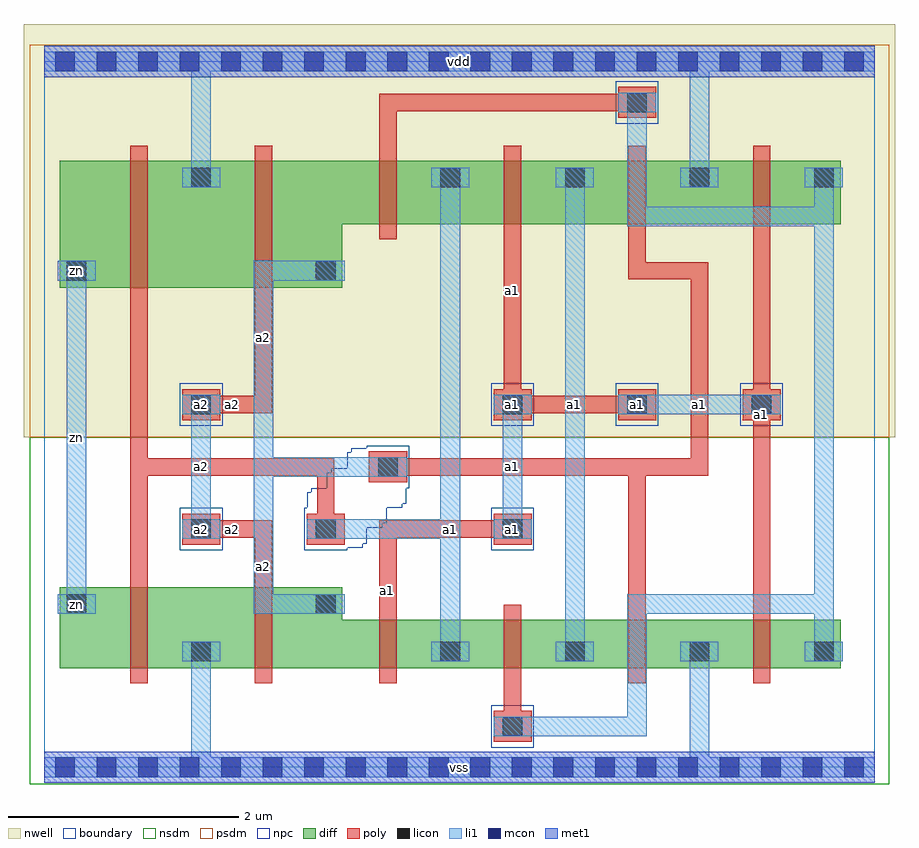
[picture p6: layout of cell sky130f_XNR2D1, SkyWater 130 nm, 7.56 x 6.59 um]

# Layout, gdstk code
import gdstk
lib = gdstk.Library(unit=1e-6, precision=1e-09)
def R(c, l, rs):  # rectangles x0, y0, x1, y1
    for r in rs: c.add(gdstk.rectangle(r[:2], r[2:], *l))
def A(c, l, x, y, w, h, nx, ny, dx, dy):  # array of equal rectangles
    R(c, l, [(x+i*dx, y+j*dy, x+i*dx+w, y+j*dy+h) for i in range(nx) for j in range(ny)])
def P(c, l, *ps):  # polygons
    for p in ps: c.add(gdstk.Polygon(p, *l))
L0_0 = (0, 0)
nwell = (64, 20)
diff = (65, 20)
poly = (66, 20)
licon = (66, 44)
li1 = (67, 20)
mcon = (67, 44)
met1 = (68, 20)
nsdm = (93, 44)
psdm = (94, 20)
npc = (95, 20)
boundary = (235, 4)

sky130f_xnr2d1 = lib.new_cell('sky130f_XNR2D1')
R(sky130f_xnr2d1, nwell, [(-0.18,2.86,7.38,6.445)])
A(sky130f_xnr2d1, diff, 2.295, 0.86, 1.37, 0.42, 4, 1, 1.08, 0)
A(sky130f_xnr2d1, diff, 3.375, 0.86, 0.29, 0.29, 4, 2, 1.08, 4.11)
A(sky130f_xnr2d1, diff, 2.295, 4.71, 1.37, 0.55, 4, 1, 1.08, 0)
R(sky130f_xnr2d1, diff, [(0.135,0.86,1.505,1.56), (1.215,0.86,2.585,1.56), (1.215,0.86,1.505,1.15), (0.135,1.27,0.425,1.56), (2.295,1.27,2.585,1.56), (0.135,4.16,1.505,5.26), (0.135,4.16,0.425,4.45), (1.215,4.16,2.585,5.26), (2.295,4.16,2.585,4.45), (1.215,4.97,1.505,5.26)])
A(sky130f_xnr2d1, poly, 2.905, 0.73, 0.15, 0.68, 4, 1, 1.08, 0)
A(sky130f_xnr2d1, poly, 3.895, 3.01, 0.33, 0.27, 3, 1, 1.08, 0)
A(sky130f_xnr2d1, poly, 2.905, 4.58, 0.15, 0.81, 4, 1, 1.08, 0)
R(sky130f_xnr2d1, poly, [(3.895,0.22,4.225,0.49), (3.985,0.28,4.135,1.08), (0.745,0.73,0.895,1.69), (1.825,0.73,1.975,1.69), (2.905,0.93,3.055,2.14), (5.065,0.93,5.215,2.68), (6.145,0.93,6.295,5.19), (0.745,1.34,0.895,4.38), (1.825,1.34,1.975,2.14), (1.195,1.93,1.525,2.2), (2.275,1.93,2.605,2.2), (3.895,1.93,4.225,2.2), (1.285,1.99,1.975,2.14), (2.365,1.99,2.515,2.68), (2.905,1.99,4.135,2.14), (2.815,2.47,3.145,2.74), (0.745,2.53,2.515,2.68), (2.905,2.53,5.215,2.68), (5.065,2.53,5.755,2.68), (5.605,2.53,5.755,4.38), (1.195,3.01,1.525,3.28), (1.285,3.07,1.975,3.22), (1.825,3.07,1.975,4.38), (3.985,3.07,5.215,3.22), (3.985,3.07,4.135,5.19), (0.745,4.03,0.895,5.39), (1.825,4.03,1.975,5.39), (5.065,4.23,5.215,5.19), (5.065,4.23,5.755,4.38), (2.905,5.04,3.055,5.84), (4.975,5.63,5.305,5.9), (2.905,5.69,5.215,5.84)])
A(sky130f_xnr2d1, licon, 3.435, 0.92, 0.17, 0.17, 4, 2, 1.08, 4.11)
A(sky130f_xnr2d1, licon, 3.975, 3.06, 0.17, 0.17, 3, 1, 1.08, 0)
R(sky130f_xnr2d1, licon, [(3.975,0.27,4.145,0.44), (1.275,0.92,1.445,1.09), (0.195,1.33,0.365,1.5), (2.355,1.33,2.525,1.5), (1.275,1.98,1.445,2.15), (2.355,1.98,2.525,2.15), (3.975,1.98,4.145,2.15), (2.895,2.52,3.065,2.69), (1.275,3.06,1.445,3.23), (0.195,4.22,0.365,4.39), (2.355,4.22,2.525,4.39), (1.275,5.03,1.445,5.2), (5.055,5.68,5.225,5.85)])
A(sky130f_xnr2d1, li1, 3.355, 0.92, 0.33, 0.17, 4, 2, 1.08, 4.11)
A(sky130f_xnr2d1, li1, 3.895, 3.06, 0.33, 0.17, 3, 1, 1.08, 0)
R(sky130f_xnr2d1, li1, [(0,-0.085,7.2,0.085), (1.275,0.06,1.445,1.09), (5.595,0.06,5.765,1.09), (3.895,0.27,4.225,0.44), (3.975,0.27,5.225,0.44), (5.055,0.27,5.225,1.5), (1.195,0.92,1.525,1.09), (3.435,0.92,3.605,5.2), (4.515,0.92,4.685,5.2), (6.675,0.92,6.845,1.5), (0.115,1.33,0.445,1.5), (0.195,1.33,0.365,4.39), (1.815,1.33,2.525,1.5), (1.815,1.33,1.985,4.39), (2.275,1.33,2.605,1.5), (5.055,1.33,6.845,1.5), (6.675,1.33,6.845,5.2), (1.195,1.98,1.525,2.15), (1.275,1.98,1.445,3.23), (2.275,1.98,2.605,2.15), (2.355,1.98,3.605,2.15), (3.895,1.98,4.225,2.15), (3.975,1.98,4.145,3.23), (1.815,2.52,3.065,2.69), (2.815,2.52,3.145,2.69), (1.195,3.06,1.525,3.23), (5.055,3.06,6.305,3.23), (0.115,4.22,0.445,4.39), (1.815,4.22,2.525,4.39), (2.275,4.22,2.605,4.39), (5.055,4.69,6.845,4.86), (5.055,4.69,5.225,5.85), (1.195,5.03,1.525,5.2), (1.275,5.03,1.445,6.06), (5.595,5.03,5.765,6.06), (4.975,5.68,5.305,5.85), (0,6.035,7.2,6.205)])
A(sky130f_xnr2d1, mcon, 0.095, -0.085, 0.17, 0.17, 20, 2, 0.36, 6.12)
R(sky130f_xnr2d1, met1, [(0,-0.135,7.2,0.135), (0,5.985,7.2,6.255)])
R(sky130f_xnr2d1, nsdm, [(-0.125,-0.145,7.325,0.145), (-0.125,0.145,7.325,2.86)])
R(sky130f_xnr2d1, psdm, [(-0.125,2.86,7.325,5.975), (-0.125,5.975,7.325,6.265)])
A(sky130f_xnr2d1, npc, 3.875, 2.96, 0.37, 0.37, 3, 1, 1.08, 0)
R(sky130f_xnr2d1, npc, [(3.875,0.17,4.245,0.54), (1.175,1.88,1.545,2.25), (3.875,1.88,4.245,2.25), (1.175,2.96,1.545,3.33), (4.955,5.58,5.325,5.95)])
P(sky130f_xnr2d1, npc, [(2.255,1.88),(2.255,2.25),(2.28,2.25),(2.28,2.385),(2.315,2.385),(2.315,2.42),(2.45,2.42),(2.45,2.555),(2.49,2.555),(2.49,2.595),(2.625,2.595),(2.625,2.73),(2.66,2.73),(2.66,2.765),(2.795,2.765),(2.795,2.79),(3.165,2.79),(3.165,2.42),(3.14,2.42),(3.14,2.285),(3.105,2.285),(3.105,2.25),(2.97,2.25),(2.97,2.115),(2.93,2.115),(2.93,2.075),(2.795,2.075),(2.795,1.94),(2.76,1.94),(2.76,1.905),(2.625,1.905),(2.625,1.88)])
R(sky130f_xnr2d1, boundary, [(0,0,7.2,6.12)])
sky130f_xnr2d1.add(gdstk.FlexPath([(0.115,0.355),(6.925,0.355)], 0, ends="flush", simple_path=True, layer=0, datatype=0))  # L0_0
sky130f_xnr2d1.add(gdstk.FlexPath([(0.115,1.005),(6.925,1.005)], 0, ends="flush", simple_path=True, layer=0, datatype=0))  # L0_0
sky130f_xnr2d1.add(gdstk.FlexPath([(0.115,1.415),(6.925,1.415)], 0, ends="flush", simple_path=True, layer=0, datatype=0))  # L0_0
sky130f_xnr2d1.add(gdstk.FlexPath([(0.115,2.065),(6.925,2.065)], 0, ends="flush", simple_path=True, layer=0, datatype=0))  # L0_0
sky130f_xnr2d1.add(gdstk.FlexPath([(0.115,2.605),(6.925,2.605)], 0, ends="flush", simple_path=True, layer=0, datatype=0))  # L0_0
sky130f_xnr2d1.add(gdstk.FlexPath([(0.115,3.145),(6.925,3.145)], 0, ends="flush", simple_path=True, layer=0, datatype=0))  # L0_0
sky130f_xnr2d1.add(gdstk.FlexPath([(0.115,4.305),(6.925,4.305)], 0, ends="flush", simple_path=True, layer=0, datatype=0))  # L0_0
sky130f_xnr2d1.add(gdstk.FlexPath([(0.115,4.775),(6.925,4.775)], 0, ends="flush", simple_path=True, layer=0, datatype=0))  # L0_0
sky130f_xnr2d1.add(gdstk.FlexPath([(0.115,5.115),(6.925,5.115)], 0, ends="flush", simple_path=True, layer=0, datatype=0))  # L0_0
sky130f_xnr2d1.add(gdstk.FlexPath([(0.115,5.765),(6.925,5.765)], 0, ends="flush", simple_path=True, layer=0, datatype=0))  # L0_0
sky130f_xnr2d1.add(gdstk.FlexPath([(0.28,0.06),(0.28,6.06)], 0, ends="flush", simple_path=True, layer=0, datatype=0))  # L0_0
sky130f_xnr2d1.add(gdstk.FlexPath([(0.82,0.06),(0.82,6.06)], 0, ends="flush", simple_path=True, layer=0, datatype=0))  # L0_0
sky130f_xnr2d1.add(gdstk.FlexPath([(1.36,0.06),(1.36,6.06)], 0, ends="flush", simple_path=True, layer=0, datatype=0))  # L0_0
sky130f_xnr2d1.add(gdstk.FlexPath([(1.9,0.06),(1.9,6.06)], 0, ends="flush", simple_path=True, layer=0, datatype=0))  # L0_0
sky130f_xnr2d1.add(gdstk.FlexPath([(2.44,0.06),(2.44,6.06)], 0, ends="flush", simple_path=True, layer=0, datatype=0))  # L0_0
sky130f_xnr2d1.add(gdstk.FlexPath([(2.98,0.06),(2.98,6.06)], 0, ends="flush", simple_path=True, layer=0, datatype=0))  # L0_0
sky130f_xnr2d1.add(gdstk.FlexPath([(3.52,0.06),(3.52,6.06)], 0, ends="flush", simple_path=True, layer=0, datatype=0))  # L0_0
sky130f_xnr2d1.add(gdstk.FlexPath([(4.06,0.06),(4.06,6.06)], 0, ends="flush", simple_path=True, layer=0, datatype=0))  # L0_0
sky130f_xnr2d1.add(gdstk.FlexPath([(4.6,0.06),(4.6,6.06)], 0, ends="flush", simple_path=True, layer=0, datatype=0))  # L0_0
sky130f_xnr2d1.add(gdstk.FlexPath([(5.14,0.06),(5.14,6.06)], 0, ends="flush", simple_path=True, layer=0, datatype=0))  # L0_0
sky130f_xnr2d1.add(gdstk.FlexPath([(5.68,0.06),(5.68,6.06)], 0, ends="flush", simple_path=True, layer=0, datatype=0))  # L0_0
sky130f_xnr2d1.add(gdstk.FlexPath([(6.22,0.06),(6.22,6.06)], 0, ends="flush", simple_path=True, layer=0, datatype=0))  # L0_0
sky130f_xnr2d1.add(gdstk.FlexPath([(6.76,0.06),(6.76,6.06)], 0, ends="flush", simple_path=True, layer=0, datatype=0))  # L0_0
sky130f_xnr2d1.add(gdstk.Label('zn', (0.28,1.415), layer=65, texttype=20))
sky130f_xnr2d1.add(gdstk.Label('zn', (0.28,4.305), layer=65, texttype=20))
sky130f_xnr2d1.add(gdstk.Label('a2', (1.9,1.74), layer=66, texttype=20))
sky130f_xnr2d1.add(gdstk.Label('a2', (1.63,2.065), layer=66, texttype=20))
sky130f_xnr2d1.add(gdstk.Label('a2', (1.36,2.065), layer=66, texttype=20))
sky130f_xnr2d1.add(gdstk.Label('a2', (1.36,3.145), layer=66, texttype=20))
sky130f_xnr2d1.add(gdstk.Label('a2', (1.63,3.145), layer=66, texttype=20))
sky130f_xnr2d1.add(gdstk.Label('a2', (1.9,3.725), layer=66, texttype=20))
sky130f_xnr2d1.add(gdstk.Label('a1', (6.22,3.06), layer=66, texttype=20))
sky130f_xnr2d1.add(gdstk.Label('a1', (6.22,3.145), layer=66, texttype=20))
sky130f_xnr2d1.add(gdstk.Label('a1', (5.14,3.145), layer=66, texttype=20))
sky130f_xnr2d1.add(gdstk.Label('a1', (4.6,3.145), layer=66, texttype=20))
sky130f_xnr2d1.add(gdstk.Label('a1', (4.06,4.13), layer=66, texttype=20))
sky130f_xnr2d1.add(gdstk.Label('a1', (2.98,1.535), layer=66, texttype=20))
sky130f_xnr2d1.add(gdstk.Label('a1', (3.52,2.065), layer=66, texttype=20))
sky130f_xnr2d1.add(gdstk.Label('a1', (4.06,2.065), layer=66, texttype=20))
sky130f_xnr2d1.add(gdstk.Label('a1', (4.06,3.145), layer=66, texttype=20))
sky130f_xnr2d1.add(gdstk.Label('zn', (0.28,1.415), layer=66, texttype=44))
sky130f_xnr2d1.add(gdstk.Label('zn', (0.28,4.305), layer=66, texttype=44))
sky130f_xnr2d1.add(gdstk.Label('a2', (1.36,2.065), layer=66, texttype=44))
sky130f_xnr2d1.add(gdstk.Label('a2', (1.36,3.145), layer=66, texttype=44))
sky130f_xnr2d1.add(gdstk.Label('a1', (6.22,3.145), layer=66, texttype=44))
sky130f_xnr2d1.add(gdstk.Label('a1', (5.14,3.145), layer=66, texttype=44))
sky130f_xnr2d1.add(gdstk.Label('a1', (4.06,2.065), layer=66, texttype=44))
sky130f_xnr2d1.add(gdstk.Label('a1', (4.06,3.145), layer=66, texttype=44))
sky130f_xnr2d1.add(gdstk.Label('a2', (1.36,2.065), layer=67, texttype=5))
sky130f_xnr2d1.add(gdstk.Label('a2', (1.36,2.605), layer=67, texttype=5))
sky130f_xnr2d1.add(gdstk.Label('a2', (1.36,3.145), layer=67, texttype=5))
sky130f_xnr2d1.add(gdstk.Label('zn', (0.28,1.415), layer=67, texttype=5))
sky130f_xnr2d1.add(gdstk.Label('zn', (0.28,4.305), layer=67, texttype=5))
sky130f_xnr2d1.add(gdstk.Label('zn', (0.28,2.86), layer=67, texttype=5))
sky130f_xnr2d1.add(gdstk.Label('a1', (6.22,3.145), layer=67, texttype=5))
sky130f_xnr2d1.add(gdstk.Label('a1', (5.68,3.145), layer=67, texttype=5))
sky130f_xnr2d1.add(gdstk.Label('a1', (5.14,3.145), layer=67, texttype=5))
sky130f_xnr2d1.add(gdstk.Label('a1', (4.06,2.065), layer=67, texttype=5))
sky130f_xnr2d1.add(gdstk.Label('a1', (4.06,2.605), layer=67, texttype=5))
sky130f_xnr2d1.add(gdstk.Label('a1', (4.06,3.145), layer=67, texttype=5))
sky130f_xnr2d1.add(gdstk.Label('vss', (3.6,0), layer=67, texttype=5))
sky130f_xnr2d1.add(gdstk.Label('vdd', (3.6,6.12), layer=67, texttype=5))
sky130f_xnr2d1.add(gdstk.Label('vss', (3.6,0), layer=68, texttype=5))
sky130f_xnr2d1.add(gdstk.Label('vdd', (3.6,6.12), layer=68, texttype=5))

lib.write_gds('sky130f_XNR2D1.gds')
